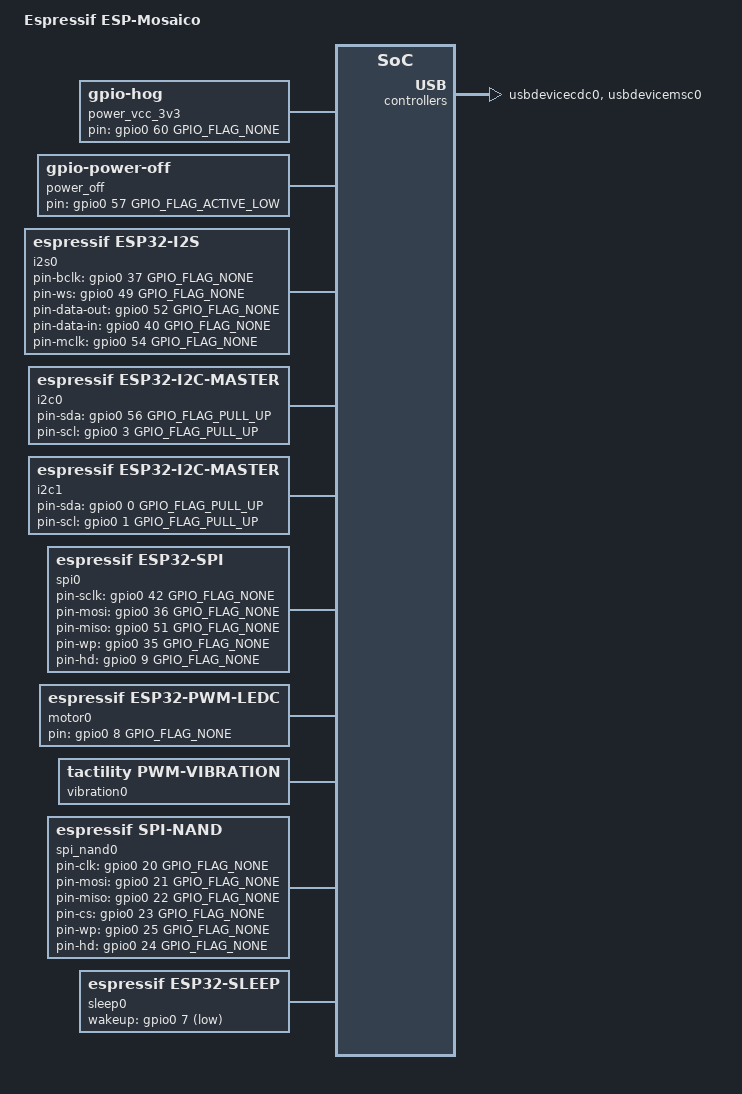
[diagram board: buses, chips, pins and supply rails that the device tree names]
/dts-v1/;

#include <tactility/bindings/root.h>
#include <tactility/bindings/esp32_ble.h>
#include <tactility/bindings/esp32_wifi_pinned.h>
#include <tactility/bindings/esp32_gpio.h>
#include <tactility/bindings/esp32_i2c_master.h>
#include <tactility/bindings/esp32_i2s.h>
#include <tactility/bindings/esp32_pwm_ledc.h>
#include <tactility/bindings/esp32_sleep.h>
#include <tactility/bindings/esp32_spi.h>
#include <tactility/bindings/esp32_usbdevice.h>
#include <tactility/bindings/gpio_hog.h>

#include <bindings/bmi270.h>
#include <bindings/bmm150.h>
#include <bindings/gpio_power_off.h>
#include <bindings/pwm_vibration.h>
#include <bindings/bq27220.h>
#include <bindings/co5300.h>
#include <bindings/co5300_backlight.h>
#include <bindings/cst9220.h>
#include <bindings/es8311.h>
#include <bindings/spi_nand.h>

/*
 * Espressif ESP-Mosaico, board revision v1.2.
 *
 * v1.0 uses a different pin map (I2C SDA/SCL 0/1, LCD SCL/RST 44/42, codec rail GPIO56).
 * Supporting both revisions in one image requires runtime eFuse detection and dynamically built
 * devices; this devicetree deliberately targets the shipping v1.2 mapping.
 */
/ {
	compatible = "root";
	model = "Espressif ESP-Mosaico";

	wifi0 {
		compatible = "espressif,esp32-wifi-pinned";
	};

	ble0 {
		compatible = "espressif,esp32-ble";
	};

	gpio0 {
		compatible = "espressif,esp32-gpio";
		gpio-count = <62>;
	};

	/* VCC_PW is active-low: drive it low before any peripheral starts. */
	power_vcc_3v3 {
		compatible = "gpio-hog";
		pin = <&gpio0 60 GPIO_FLAG_NONE>;
		mode = <GPIO_HOG_MODE_OUTPUT_LOW>;
	};

	/* POWER_SWITCH: whole-device shutdown request to the SAM8108 power controller.
	 * The line is active-low: the driver asserts its logical high level and the pin-spec flag
	 * turns that into a physical low. It stays high-impedance during normal operation,
	 * matching the vendor BSP. GPIO57 is MTMS but usable as a regular GPIO with the built-in
	 * USB-JTAG. */
	power_off {
		compatible = "gpio-power-off";
		pin = <&gpio0 57 GPIO_FLAG_ACTIVE_LOW>;
	};

	/*
	 * Declared before the display/touch/audio nodes so the USB console is installed first and
	 * mirrors their bring-up logs (devices start in devicetree order).
	 */
	usbdevice0 {
		compatible = "espressif,esp32-usbdevice";

		/* Boot-time CDC-ACM console on the Type-C port (USB-Serial/JTAG is only on the left
		 * expansion header on this board). It is replaced by MSC/HID/MIDI if one is claimed. */
		usbdevicecdc0 {
			compatible = "espressif,esp32-usbdevice-cdc";
			console-at-boot;
		};

		usbdevicemsc0 {
			compatible = "espressif,esp32-usbdevice-msc";
		};
	};

	i2s0 {
		compatible = "espressif,esp32-i2s";
		port = <I2S_NUM_0>;
		pin-bclk = <&gpio0 37 GPIO_FLAG_NONE>;
		pin-ws = <&gpio0 49 GPIO_FLAG_NONE>;
		pin-data-out = <&gpio0 52 GPIO_FLAG_NONE>;
		pin-data-in = <&gpio0 40 GPIO_FLAG_NONE>;
		pin-mclk = <&gpio0 54 GPIO_FLAG_NONE>;
	};

	/* v1.2 mainboard I2C bus. v1.0 uses GPIO0/1 instead. */
	i2c0 {
		compatible = "espressif,esp32-i2c-master";
		port = <I2C_NUM_0>;
		clock-frequency = <400000>;
		pin-sda = <&gpio0 56 GPIO_FLAG_PULL_UP>;
		pin-scl = <&gpio0 3 GPIO_FLAG_PULL_UP>;

		touch0 {
			compatible = "hynitron,cst9220";
			reg = <0x5A>;
			x-max = <479>;
			y-max = <479>;
			/* RST is not wired on this board. */
			pin-interrupt = <&gpio0 6 GPIO_FLAG_NONE>;
		};

		es8311 {
			compatible = "everest,es8311";
			reg = <0x19>;
			i2s = <&i2s0>;
			pin-pa = <&gpio0 45 GPIO_FLAG_NONE>;
			no-dac-ref;
		};

		bmi270 {
			compatible = "bosch,bmi270";
			reg = <0x69>;
			// Identity until the panel/IMU mounting orientation is calibrated on hardware.
			mount-matrix = <1 0 0
							0 1 0
							0 0 1>;
		};

		bq27220 {
			compatible = "ti,bq27220";
			reg = <0x55>;
		};

		/* Two onboard BMM150 magnetometers. Identity mounting until orientation is calibrated. */
		bmm150_a {
			compatible = "bosch,bmm150";
			reg = <0x11>;
			mount-matrix = <1 0 0
							0 1 0
							0 0 1>;
		};

		bmm150_b {
			compatible = "bosch,bmm150";
			reg = <0x12>;
			mount-matrix = <1 0 0
							0 1 0
							0 0 1>;
		};
	};

	/*
	 * External module I2C bus. On the v1.2 board this is I2C1 on GPIO0/1.
	 */
	i2c1 {
		compatible = "espressif,esp32-i2c-master";
		port = <I2C_NUM_1>;
		clock-frequency = <100000>;
		pin-sda = <&gpio0 0 GPIO_FLAG_PULL_UP>;
		pin-scl = <&gpio0 1 GPIO_FLAG_PULL_UP>;
	};

	/*
	 * CO5300 QSPI display on SPI2. v1.2 uses SCL=42 / RST=44; v1.0 swaps those two.
	 * D0..D3 are 36/51/35/9, CS=50, TE=43 (frame-sync input for tear-free updates).
	 */
	spi0 {
		compatible = "espressif,esp32-spi";
		host = <SPI2_HOST>;
		cs-gpios = <&gpio0 50 GPIO_FLAG_NONE>;
		pin-sclk = <&gpio0 42 GPIO_FLAG_NONE>;
		pin-mosi = <&gpio0 36 GPIO_FLAG_NONE>;
		pin-miso = <&gpio0 51 GPIO_FLAG_NONE>;
		pin-wp = <&gpio0 35 GPIO_FLAG_NONE>;
		pin-hd = <&gpio0 9 GPIO_FLAG_NONE>;
		max-transfer-size = <65536>;

		display@0 {
			compatible = "chipone,co5300";
			horizontal-resolution = <480>;
			vertical-resolution = <480>;
			// Visible corner radius of the 2.16" 480x480 AMOLED. Board measures ~6 mm; at the
			// panel's ~314 dpi that is 6/25.4*314 = 74 px.
			shape = <DISPLAY_SHAPE_ROUNDED>;
			corner-radius = <74>;
			gap-x = <0>;
			gap-y = <0>;
			// 80 MHz quad = 40 MB/s, faster than the panel's own scanout. At 40 MHz a full
			// 480x480 write takes ~23 ms (longer than a 16.7 ms frame), so no amount of TE
			// alignment can prevent tearing; 80 MHz brings it under one frame.
			pixel-clock-hz = <80000000>;
			pin-reset = <&gpio0 44 GPIO_FLAG_NONE>;
			pin-te = <&gpio0 43 GPIO_FLAG_NONE>;
			/* Present each refresh as one TE-aligned full-screen transfer (tear-free). */
			full-frame;

			/*
			 * Board-proven CO5300 vendor sequence (from the official ESP-Mosaico BSP).
			 * Encoding: [cmd, data-length, delay-ms, data-length bytes of data...].
			 */
			init-sequence = [
				0x11 0 120
				0xFE 1 0   0x20
				0x19 1 0   0x10
				0x1C 1 0   0xA0
				0xFE 1 0   0x00
				0xC4 1 0   0x80
				0x3A 1 0   0x55
				0x53 1 0   0x20
				0x51 1 0   0xFF
				0x63 1 0   0xFF
				0x2A 4 0   0x00 0x00 0x01 0xDF
				0x2B 4 0   0x00 0x00 0x01 0xDF
				0x29 0 120
			];

			display_backlight {
				compatible = "co5300-backlight";
				brightness-default = <255>;
			};
		};
	};

	/* ERM vibration motor, LEDC-controlled. */
	motor0 {
		compatible = "espressif,esp32-pwm-ledc";
		pin = <&gpio0 8 GPIO_FLAG_NONE>;
		period-ns = <200000>;
		duty-ns = <0>;
		ledc-timer = <0>;
		ledc-channel = <0>;
	};

	vibration0 {
		compatible = "tactility,pwm-vibration";
		pwm = <&motor0>;
	};

	/*
	 * 1 Gbit (128 MB) SPI NAND on SPI3, formatted with FAT and exposed as the fixed
	 * "SD card". Tactility's user data location is SD, so the whole /sdcard/tactility tree
	 * (settings, apps, cache) lives here. Dhara wear leveling handles bad blocks.
	 * NAND_D = DI (GPIO21), NAND_Q = DO (GPIO22), HOLD# = GPIO24, WP# = GPIO25.
	 */
	spi_nand0 {
		compatible = "espressif,spi-nand";
		host = <SPI3_HOST>;
		pin-clk = <&gpio0 20 GPIO_FLAG_NONE>;
		pin-mosi = <&gpio0 21 GPIO_FLAG_NONE>;
		pin-miso = <&gpio0 22 GPIO_FLAG_NONE>;
		pin-cs = <&gpio0 23 GPIO_FLAG_NONE>;
		pin-wp = <&gpio0 25 GPIO_FLAG_NONE>;
		pin-hd = <&gpio0 24 GPIO_FLAG_NONE>;
		mount-path = "/sdcard";
		mount-name = "sdcard";
		/* Single-IO at 40 MHz; the BSP runs quad at 80 MHz. Safe start point for SIO. */
		max-freq-khz = <40000>;
		/* The chip ships blank; format once so the first boot has a volume. */
		format-if-mount-failed;
	};

	/* The AI button (GPIO7) is RTCIO-capable and wakes the system from deep sleep.
	 *
	 * WAKEUP_BUTTON_FLAGS = GPIO_FLAG_ACTIVE_LOW (1<<0) | GPIO_FLAG_PULL_UP (1<<3). The DTS
	 * grammar accepts only one value per cell, so the flags are pre-combined here. The internal
	 * pull-up is required: without it GPIO7 floats low and the chip wakes from deep sleep
	 * immediately (which looks like a reboot instead of sleeping). */
	sleep0 {
		compatible = "espressif,esp32-sleep";
		wakeup-gpios = <&gpio0 7 9>;
	};
};
